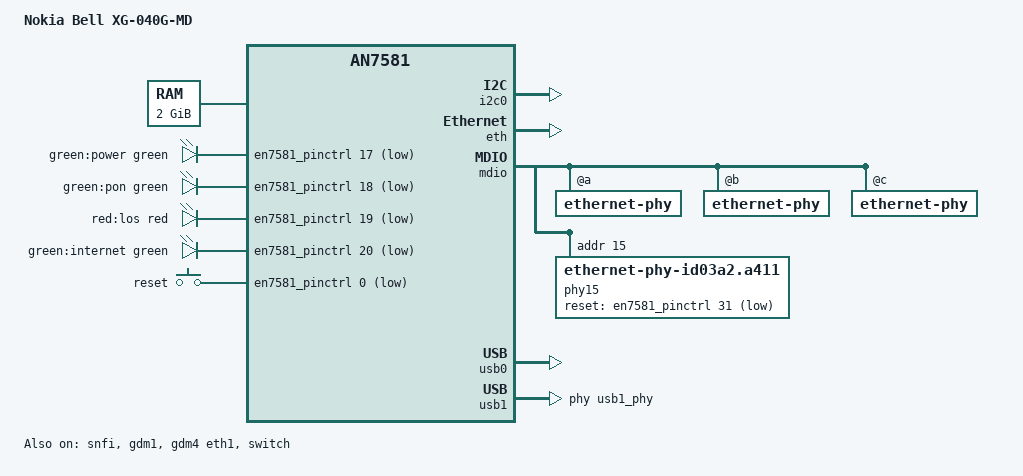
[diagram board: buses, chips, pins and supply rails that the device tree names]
// SPDX-License-Identifier: (GPL-2.0-only OR BSD-2-Clause)
/dts-v1/;

#include <dt-bindings/leds/common.h>
#include <dt-bindings/gpio/gpio.h>
#include <dt-bindings/input/input.h>
#include "an7581.dtsi"

/ {
	model = "Nokia Bell XG-040G-MD";
	compatible = "bell,xg-040g-md", "airoha,an7581";

	aliases {
		serial0 = &uart1;
	};

	chosen {
		bootargs = "ubi.mtd=ubi root=ubi0:rootfs rootfstype=squashfs ro rootwait console=ttyS0,115200 earlycon";
		stdout-path = "serial0:115200n8";
		linux,usable-memory-range = <0x0 0x80200000 0x0 0x1fe00000>;
	};

	memory@80000000 {
		device_type = "memory";
		reg = <0x0 0x80000000 0x0 0x80000000>;
	};

	efuse-banks {
		compatible = "airoha,an7581-efuses";
		#address-cells = <1>;
		#size-cells = <0>;

		bank@0 {
			reg = <0>;
		};

		bank@1 {
			reg = <1>;
		};
	};

	leds {
		compatible = "gpio-leds";

		pwr_led: led-0 {
			label = "green:power";
			color = <LED_COLOR_ID_GREEN>;
			function = LED_FUNCTION_POWER;
			gpios = <&en7581_pinctrl 17 GPIO_ACTIVE_LOW>;
			linux,default-trigger = "default-on";
		};

		pon_led: led-1 {
			label = "green:pon";
			color = <LED_COLOR_ID_GREEN>;
			function = LED_FUNCTION_STATUS;
			gpios = <&en7581_pinctrl 18 GPIO_ACTIVE_LOW>;
		};

		los_led: led-2 {
			label = "red:los";
			color = <LED_COLOR_ID_RED>;
			function = LED_FUNCTION_STATUS;
			gpios = <&en7581_pinctrl 19 GPIO_ACTIVE_LOW>;
		};

		internet_led: led-3 {
			label = "green:internet";
			color = <LED_COLOR_ID_GREEN>;
			function = LED_FUNCTION_STATUS;
			gpios = <&en7581_pinctrl 20 GPIO_ACTIVE_LOW>;
		};
	};

	keys {
		compatible = "gpio-keys";

		reset {
			label = "reset";
			gpios = <&en7581_pinctrl 0 GPIO_ACTIVE_LOW>;
			linux,code = <KEY_RESTART>;
			debounce-interval = <60>;
		};
	};

	/* ========== 新增：CPU 频率表 ========== */
	cpus {
		#address-cells = <1>;
		#size-cells = <0>;

		cpu0: cpu@0 {
			compatible = "arm,cortex-a55";
			device_type = "cpu";
			reg = <0>;
			enable-method = "psci";
			clocks = <&scmi_clk 7>;
			operating-points-v2 = <&cpu_opp_table>;
			#cooling-cells = <2>;
		};

		cpu1: cpu@1 {
			compatible = "arm,cortex-a55";
			device_type = "cpu";
			reg = <1>;
			enable-method = "psci";
			clocks = <&scmi_clk 7>;
			operating-points-v2 = <&cpu_opp_table>;
			#cooling-cells = <2>;
		};

		cpu2: cpu@2 {
			compatible = "arm,cortex-a55";
			device_type = "cpu";
			reg = <2>;
			enable-method = "psci";
			clocks = <&scmi_clk 7>;
			operating-points-v2 = <&cpu_opp_table>;
			#cooling-cells = <2>;
		};

		cpu3: cpu@3 {
			compatible = "arm,cortex-a55";
			device_type = "cpu";
			reg = <3>;
			enable-method = "psci";
			clocks = <&scmi_clk 7>;
			operating-points-v2 = <&cpu_opp_table>;
			#cooling-cells = <2>;
		};

		cpu_opp_table: opp-table {
			compatible = "operating-points-v2";
			opp-shared;

			opp-650000000 {
				opp-hz = <0 650000000>;
				opp-microvolt = <825000>;
			};
			opp-1000000000 {
				opp-hz = <0 1000000000>;
				opp-microvolt = <850000>;
			};
			opp-1350000000 {
				opp-hz = <0 1350000000>;
				opp-microvolt = <900000>;
			};
		};
	};

	/* ========== 新增：热管理区域 ========== */
	thermal-zones {
		soc-thermal {
			polling-delay-passive = <1000>;
			polling-delay = <5000>;
			thermal-sensors = <&an7581_thermal 0>;

			trips {
				soc_alert0: trip-alert0 {
					temperature = <85000>;
					hysteresis = <2000>;
					type = "passive";
				};
				soc_crit: trip-crit {
					temperature = <105000>;
					hysteresis = <2000>;
					type = "critical";
				};
			};

			cooling-maps {
				map0 {
					trip = <&soc_alert0>;
					cooling-device = <&cpu0 2 4>;
				};
			};
		};
	};
};

&en7581_pinctrl {
	gpio-ranges = <&en7581_pinctrl 0 13 47>;

	mdio_pins: mdio-pins {
		mux {
			function = "mdio";
			groups = "mdio";
		};

		conf {
			pins = "gpio2";
			output-high;
		};
	};

	gswp2_led0_pins: gswp2-led0-pins {
		mux {
			pins = "gpio34";
			function = "phy2_led0";
		};
	};

	gswp3_led0_pins: gswp3-led0-pins {
		mux {
			pins = "gpio35";
			function = "phy3_led0";
		};
	};

	gswp4_led0_pins: gswp4-led0-pins {
		mux {
			pins = "gpio42";
			function = "phy4_led0";
		};
	};
};

&snfi {
	status = "okay";
};

&spi_nand {
	partitions {
		compatible = "fixed-partitions";
		#address-cells = <1>;
		#size-cells = <1>;

		partition@0 {
			label = "bootloader";
			reg = <0x00000000 0x00080000>;
		};

		partition@80000 {
			label = "env";
			reg = <0x00080000 0x00080000>;
		};

		partition@100000 {
			label = "ubi";
			reg = <0x00100000 0x0ff00000>;
		};
	};
};

&i2c0 {
	status = "okay";
};

&eth {
	status = "okay";
};

&gdm1 {
	status = "okay";
};

&gdm4 {
	status = "okay";
	phy-handle = <&phy15>;
	phy-mode = "2500base-x";
	label = "eth1";
};

&switch {
	status = "okay";
	pinctrl-names = "default";
	pinctrl-0 = <&mdio_pins>;

	ports {
		port@2 {
			status = "okay";
			label = "lan2";
		};

		port@3 {
			status = "okay";
			label = "lan3";
		};

		port@4 {
			status = "okay";
			label = "lan4";
		};
	};

	mdio {
		ethernet-phy@a {
			status = "okay";
			pinctrl-names = "gbe-led";
			pinctrl-0 = <&gswp2_led0_pins>;

			leds {
				led@0 {
					status = "okay";
					active-low;
					function = LED_FUNCTION_LAN;
					color = <LED_COLOR_ID_GREEN>;
				};
			};
		};

		ethernet-phy@b {
			status = "okay";
			pinctrl-names = "gbe-led";
			pinctrl-0 = <&gswp3_led0_pins>;

			leds {
				led@0 {
					status = "okay";
					active-low;
					function = LED_FUNCTION_LAN;
					color = <LED_COLOR_ID_GREEN>;
				};
			};
		};

		ethernet-phy@c {
			status = "okay";
			pinctrl-names = "gbe-led";
			pinctrl-0 = <&gswp4_led0_pins>;

			leds {
				led@0 {
					status = "okay";
					active-low;
					function = LED_FUNCTION_LAN;
					color = <LED_COLOR_ID_GREEN>;
				};
			};
		};

		phy15: ethernet-phy@f {
			compatible = "ethernet-phy-id03a2.a411", "ethernet-phy-ieee802.3-c45";
			reg = <15>;

			reset-gpios = <&en7581_pinctrl 31 GPIO_ACTIVE_LOW>;
			reset-assert-us = <10000>;
			reset-deassert-us = <2000000>;

			leds {
				#address-cells = <1>;
				#size-cells = <0>;

				led@0 {
					reg = <0>;
					function = LED_FUNCTION_LAN;
					color = <LED_COLOR_ID_GREEN>;
				};
			};
		};
	};
};

&usb0 {
	status = "okay";
};

&usb1 {
	status = "okay";
	phys = <&usb1_phy PHY_TYPE_USB2>;
	mediatek,u3p-dis-msk = <0x1>;
};
